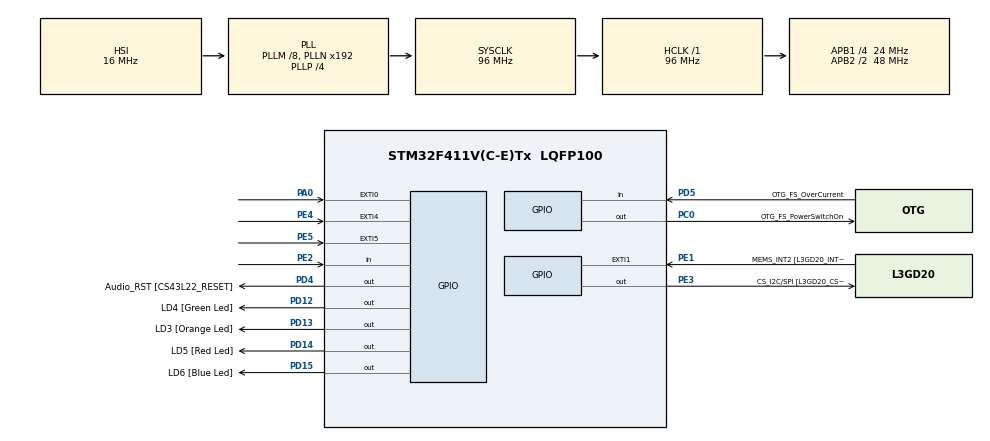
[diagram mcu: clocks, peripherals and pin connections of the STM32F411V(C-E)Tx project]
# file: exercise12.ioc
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FREERTOS.Mutexes01=myMutex01,Dynamic,NULL
FREERTOS.Tasks01=RedLED,2,128,StartRedLED,Default,NULL,Dynamic,NULL,NULL;GreenLED,0,128,StartGreenLED,Default,NULL,Dynamic,NULL,NULL;OrangeLED,1,128,StartOrangeLED,Default,NULL,Dynamic,NULL,NULL
Mcu.Family=STM32F4
Mcu.Name=STM32F411V(C-E)Tx
Mcu.Package=LQFP100
NVIC.PriorityGroup=NVIC_PRIORITYGROUP_4
NVIC.TIM1_UP_TIM10_IRQn=true\:0\:0\:false\:false\:true\:false\:false\:true
NVIC.TimeBase=TIM1_UP_TIM10_IRQn
NVIC.TimeBaseIP=TIM1
PA0-WKUP.GPIO_ModeDefaultEXTI=GPIO_MODE_EVT_RISING
PA0-WKUP.Signal=GPXTI0
PA10.GPIO_Label=OTG_FS_ID
PA10.Signal=USB_OTG_FS_ID
PA11.GPIO_Label=OTG_FS_DM
PA11.Signal=USB_OTG_FS_DM
PA12.GPIO_Label=OTG_FS_DP
PA12.Signal=USB_OTG_FS_DP
PA13.GPIO_Label=SWDIO
PA13.Signal=SYS_JTMS-SWDIO
PA14.GPIO_Label=SWCLK
PA14.Signal=SYS_JTCK-SWCLK
PA4.GPIO_Label=I2S3_WS [CS43L22_LRCK]
PA4.GPIO_Mode=GPIO_MODE_AF_PP
PA4.GPIO_PuPd=GPIO_NOPULL
PA4.GPIO_Speed=GPIO_SPEED_FREQ_LOW
PA4.Signal=I2S3_WS
PA5.GPIO_Label=SPI1_SCK [L3GD20_SC/SPC]
PA5.Signal=SPI1_SCK
PA6.GPIO_Label=SPI1_MISO [L3GD20_AS0/SDO]
PA6.Signal=SPI1_MISO
PA7.GPIO_Label=SPI1_MOSI [L3GD20_SDA/SDI/SDO]
PA7.Signal=SPI1_MOSI
PA9.GPIO_Label=VBUS_FS
PA9.Signal=USB_OTG_FS_VBUS
PB10.GPIO_Label=CLK_IN [MP45DT02_CLK]
PB10.Signal=I2S2_CK
PB12.Signal=I2S2_WS
PB3.GPIO_Label=SWO
PB3.Signal=SYS_JTDO-SWO
PB6.GPIO_Label=Audio_SCL [CS43L22_SCL]
PB6.GPIO_Mode=GPIO_MODE_AF_OD
PB6.GPIO_PuPd=GPIO_NOPULL
PB6.GPIO_Speed=GPIO_SPEED_FREQ_LOW
PB6.Signal=I2C1_SCL
PB9.GPIO_Label=Audio_SDA [CS43L22_SDA]
PB9.GPIO_Mode=GPIO_MODE_AF_OD
PB9.GPIO_PuPd=GPIO_NOPULL
PB9.GPIO_Speed=GPIO_SPEED_FREQ_LOW
PB9.Signal=I2C1_SDA
PC0.GPIO_Label=OTG_FS_PowerSwitchOn
PC0.PinState=GPIO_PIN_SET
PC0.Signal=GPIO_Output
PC10.GPIO_Label=I2S3_SCK [CS43L22_SCLK]
PC10.GPIO_Mode=GPIO_MODE_AF_PP
PC10.GPIO_PuPd=GPIO_NOPULL
PC10.GPIO_Speed=GPIO_SPEED_FREQ_LOW
PC10.Signal=I2S3_CK
PC12.GPIO_Label=I2S3_SD [CS43L22_SDIN]
PC12.GPIO_Mode=GPIO_MODE_AF_PP
PC12.GPIO_PuPd=GPIO_NOPULL
PC12.GPIO_Speed=GPIO_SPEED_FREQ_LOW
PC12.Signal=I2S3_SD
PC14-OSC32_IN.GPIO_Label=PC14-OSC32_IN
PC14-OSC32_IN.Signal=RCC_OSC32_IN
PC15-OSC32_OUT.GPIO_Label=PC15-OSC32_OUT
PC15-OSC32_OUT.Signal=RCC_OSC32_OUT
PC3.GPIO_Label=PDM_OUT [MP45DT02_DOUT]
PC3.Signal=I2S2_SD
PC7.GPIO_Label=I2S3_MCK [CS43L22_MCLK]
PC7.GPIO_Mode=GPIO_MODE_AF_PP
PC7.GPIO_PuPd=GPIO_NOPULL
PC7.GPIO_Speed=GPIO_SPEED_FREQ_LOW
PC7.Signal=I2S3_MCK
PD12.GPIO_Label=LD4 [Green Led]
PD12.GPIO_PuPd=GPIO_NOPULL
PD12.GPIO_Speed=GPIO_SPEED_FREQ_LOW
PD12.Signal=GPIO_Output
PD13.GPIO_Label=LD3 [Orange Led]
PD13.GPIO_PuPd=GPIO_NOPULL
PD13.GPIO_Speed=GPIO_SPEED_FREQ_LOW
PD13.Signal=GPIO_Output
PD14.GPIO_Label=LD5 [Red Led]
PD14.GPIO_PuPd=GPIO_NOPULL
PD14.GPIO_Speed=GPIO_SPEED_FREQ_LOW
PD14.Signal=GPIO_Output
PD15.GPIO_Label=LD6 [Blue Led]
PD15.GPIO_PuPd=GPIO_NOPULL
PD15.GPIO_Speed=GPIO_SPEED_FREQ_LOW
PD15.Signal=GPIO_Output
PD4.GPIO_Label=Audio_RST [CS43L22_RESET]
PD4.Signal=GPIO_Output
PD5.GPIO_Label=OTG_FS_OverCurrent
PD5.Signal=GPIO_Input
PE1.GPIO_Label=MEMS_INT2 [L3GD20_INT2]
PE1.GPIO_ModeDefaultEXTI=GPIO_MODE_EVT_RISING
PE1.Signal=GPXTI1
PE2.Signal=GPIO_Input
PE3.GPIO_Label=CS_I2C/SPI [L3GD20_CS_I2C/SPI]
PE3.Signal=GPIO_Output
PE4.GPIO_ModeDefaultEXTI=GPIO_MODE_EVT_RISING
PE4.Signal=GPXTI4
PE5.GPIO_ModeDefaultEXTI=GPIO_MODE_EVT_RISING
PE5.Signal=GPXTI5
PH0\ -\ OSC_IN.GPIO_Label=PH0-OSC_IN
PH0\ -\ OSC_IN.Signal=RCC_OSC_IN
PH1\ -\ OSC_OUT.GPIO_Label=PH1-OSC_OUT
PH1\ -\ OSC_OUT.Signal=RCC_OSC_OUT
ProjectManager.HeapSize=0x200
ProjectManager.StackSize=0x400
ProjectManager.TargetToolchain=STM32CubeIDE
RCC.48MHZClocksFreq_Value=48000000
RCC.AHBFreq_Value=96000000
RCC.APB1CLKDivider=RCC_HCLK_DIV4
RCC.APB1Freq_Value=24000000
RCC.APB1TimFreq_Value=48000000
RCC.APB2CLKDivider=RCC_HCLK_DIV2
RCC.APB2Freq_Value=48000000
RCC.APB2TimFreq_Value=96000000
RCC.CortexFreq_Value=96000000
RCC.HCLKFreq_Value=96000000
RCC.HSE_VALUE=8000000
RCC.HSI_VALUE=16000000
RCC.LSE_VALUE=32768
RCC.PLLI2SM=5
RCC.PLLI2SN=200
RCC.PLLM=8
RCC.PLLP=RCC_PLLP_DIV4
RCC.PLLQ=8
RCC.SYSCLKFreq_VALUE=96000000
RCC.SYSCLKSource=RCC_SYSCLKSOURCE_PLLCLK
RCC.VCOOutputFreq_Value=384000000
VP_FREERTOS_VS_CMSIS_V1.Mode=CMSIS_V1
VP_SYS_VS_tim1.Mode=TIM1
board=STM32F411E-DISCO

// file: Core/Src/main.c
/* USER CODE BEGIN Header */
/**
  ******************************************************************************
  * @file           : main.c
  * @brief          : Main program body
  ******************************************************************************
  * @attention
  *
  * <h2><center>&copy; Copyright (c) 2021 STMicroelectronics.
  * All rights reserved.</center></h2>
  *
  * This software component is licensed by ST under BSD 3-Clause license,
  * the "License"; You may not use this file except in compliance with the
  * License. You may obtain a copy of the License at:
  *                        opensource.org/licenses/BSD-3-Clause
  *
  ******************************************************************************
  */
/* USER CODE END Header */

#include "main.h"
#include "cmsis_os.h"

osThreadId RedLEDHandle;
osThreadId GreenLEDHandle;
osThreadId OrangeLEDHandle;
osMutexId myMutex01Handle;

void SystemClock_Config(void);
static void MX_GPIO_Init(void);
void StartRedLED(void const * argument);
void StartGreenLED(void const * argument);
void StartOrangeLED(void const * argument);

int main(void)
{

  /* MCU Configuration--------------------------------------------------------*/

  /* Reset of all peripherals, Initializes the Flash interface and the Systick. */
  HAL_Init();

  /* Configure the system clock */
  SystemClock_Config();

  /* Initialize all configured peripherals */
  MX_GPIO_Init();

  /* Create the mutex(es) */
  /* definition and creation of myMutex01 */
  osMutexDef(myMutex01);
  myMutex01Handle = osMutexCreate(osMutex(myMutex01));

  /* Create the thread(s) */
  /* definition and creation of RedLED */
  osThreadDef(RedLED, StartRedLED, osPriorityHigh, 0, 128);
  RedLEDHandle = osThreadCreate(osThread(RedLED), NULL);

  /* definition and creation of GreenLED */
  osThreadDef(GreenLED, StartGreenLED, osPriorityNormal, 0, 128);
  GreenLEDHandle = osThreadCreate(osThread(GreenLED), NULL);

  /* definition and creation of OrangeLED */
  osThreadDef(OrangeLED, StartOrangeLED, osPriorityAboveNormal, 0, 128);
  OrangeLEDHandle = osThreadCreate(osThread(OrangeLED), NULL);

  /* Start scheduler */
  osKernelStart();

  /* We should never get here as control is now taken by the scheduler */

  /* Infinite loop */
  while (1)
  {

  }
}

void SystemClock_Config(void)
{
  RCC_OscInitTypeDef RCC_OscInitStruct = {0};
  RCC_ClkInitTypeDef RCC_ClkInitStruct = {0};

  /** Configure the main internal regulator output voltage
  */
  __HAL_RCC_PWR_CLK_ENABLE();
  __HAL_PWR_VOLTAGESCALING_CONFIG(PWR_REGULATOR_VOLTAGE_SCALE1);
  /** Initializes the CPU, AHB and APB busses clocks
  */
  RCC_OscInitStruct.OscillatorType = RCC_OSCILLATORTYPE_HSI;
  RCC_OscInitStruct.HSIState = RCC_HSI_ON;
  RCC_OscInitStruct.HSICalibrationValue = RCC_HSICALIBRATION_DEFAULT;
  RCC_OscInitStruct.PLL.PLLState = RCC_PLL_ON;
  RCC_OscInitStruct.PLL.PLLSource = RCC_PLLSOURCE_HSI;
  RCC_OscInitStruct.PLL.PLLM = 8;
  RCC_OscInitStruct.PLL.PLLN = 192;
  RCC_OscInitStruct.PLL.PLLP = RCC_PLLP_DIV4;
  RCC_OscInitStruct.PLL.PLLQ = 8;
  if (HAL_RCC_OscConfig(&RCC_OscInitStruct) != HAL_OK)
  {
    Error_Handler();
  }
  /** Initializes the CPU, AHB and APB busses clocks
  */
  RCC_ClkInitStruct.ClockType = RCC_CLOCKTYPE_HCLK|RCC_CLOCKTYPE_SYSCLK
                              |RCC_CLOCKTYPE_PCLK1|RCC_CLOCKTYPE_PCLK2;
  RCC_ClkInitStruct.SYSCLKSource = RCC_SYSCLKSOURCE_PLLCLK;
  RCC_ClkInitStruct.AHBCLKDivider = RCC_SYSCLK_DIV1;
  RCC_ClkInitStruct.APB1CLKDivider = RCC_HCLK_DIV4;
  RCC_ClkInitStruct.APB2CLKDivider = RCC_HCLK_DIV2;

  if (HAL_RCC_ClockConfig(&RCC_ClkInitStruct, FLASH_LATENCY_3) != HAL_OK)
  {
    Error_Handler();
  }
}

static void MX_GPIO_Init(void)
{
  GPIO_InitTypeDef GPIO_InitStruct = {0};

  /* GPIO Ports Clock Enable */
  __HAL_RCC_GPIOE_CLK_ENABLE();
  __HAL_RCC_GPIOC_CLK_ENABLE();
  __HAL_RCC_GPIOH_CLK_ENABLE();
  __HAL_RCC_GPIOA_CLK_ENABLE();
  __HAL_RCC_GPIOB_CLK_ENABLE();
  __HAL_RCC_GPIOD_CLK_ENABLE();

  /*Configure GPIO pin Output Level */
  HAL_GPIO_WritePin(CS_I2C_SPI_GPIO_Port, CS_I2C_SPI_Pin, GPIO_PIN_RESET);

  /*Configure GPIO pin Output Level */
  HAL_GPIO_WritePin(OTG_FS_PowerSwitchOn_GPIO_Port, OTG_FS_PowerSwitchOn_Pin, GPIO_PIN_SET);

  /*Configure GPIO pin Output Level */
  HAL_GPIO_WritePin(GPIOD, LD4_Pin|LD3_Pin|LD5_Pin|LD6_Pin
                          |Audio_RST_Pin, GPIO_PIN_RESET);

  /*Configure GPIO pin : PE2 */
  GPIO_InitStruct.Pin = GPIO_PIN_2;
  GPIO_InitStruct.Mode = GPIO_MODE_INPUT;
  GPIO_InitStruct.Pull = GPIO_NOPULL;
  HAL_GPIO_Init(GPIOE, &GPIO_InitStruct);

  /*Configure GPIO pin : CS_I2C_SPI_Pin */
  GPIO_InitStruct.Pin = CS_I2C_SPI_Pin;
  GPIO_InitStruct.Mode = GPIO_MODE_OUTPUT_PP;
  GPIO_InitStruct.Pull = GPIO_NOPULL;
  GPIO_InitStruct.Speed = GPIO_SPEED_FREQ_LOW;
  HAL_GPIO_Init(CS_I2C_SPI_GPIO_Port, &GPIO_InitStruct);

  /*Configure GPIO pins : PE4 PE5 MEMS_INT2_Pin */
  GPIO_InitStruct.Pin = GPIO_PIN_4|GPIO_PIN_5|MEMS_INT2_Pin;
  GPIO_InitStruct.Mode = GPIO_MODE_EVT_RISING;
  GPIO_InitStruct.Pull = GPIO_NOPULL;
  HAL_GPIO_Init(GPIOE, &GPIO_InitStruct);

  /*Configure GPIO pin : OTG_FS_PowerSwitchOn_Pin */
  GPIO_InitStruct.Pin = OTG_FS_PowerSwitchOn_Pin;
  GPIO_InitStruct.Mode = GPIO_MODE_OUTPUT_PP;
  GPIO_InitStruct.Pull = GPIO_NOPULL;
  GPIO_InitStruct.Speed = GPIO_SPEED_FREQ_LOW;
  HAL_GPIO_Init(OTG_FS_PowerSwitchOn_GPIO_Port, &GPIO_InitStruct);

  /*Configure GPIO pin : PDM_OUT_Pin */
  GPIO_InitStruct.Pin = PDM_OUT_Pin;
  GPIO_InitStruct.Mode = GPIO_MODE_AF_PP;
  GPIO_InitStruct.Pull = GPIO_NOPULL;
  GPIO_InitStruct.Speed = GPIO_SPEED_FREQ_LOW;
  GPIO_InitStruct.Alternate = GPIO_AF5_SPI2;
  HAL_GPIO_Init(PDM_OUT_GPIO_Port, &GPIO_InitStruct);

  /*Configure GPIO pin : PA0 */
  GPIO_InitStruct.Pin = GPIO_PIN_0;
  GPIO_InitStruct.Mode = GPIO_MODE_EVT_RISING;
  GPIO_InitStruct.Pull = GPIO_NOPULL;
  HAL_GPIO_Init(GPIOA, &GPIO_InitStruct);

  /*Configure GPIO pin : I2S3_WS_Pin */
  GPIO_InitStruct.Pin = I2S3_WS_Pin;
  GPIO_InitStruct.Mode = GPIO_MODE_AF_PP;
  GPIO_InitStruct.Pull = GPIO_NOPULL;
  GPIO_InitStruct.Speed = GPIO_SPEED_FREQ_LOW;
  GPIO_InitStruct.Alternate = GPIO_AF6_SPI3;
  HAL_GPIO_Init(I2S3_WS_GPIO_Port, &GPIO_InitStruct);

  /*Configure GPIO pins : SPI1_SCK_Pin SPI1_MISO_Pin SPI1_MOSI_Pin */
  GPIO_InitStruct.Pin = SPI1_SCK_Pin|SPI1_MISO_Pin|SPI1_MOSI_Pin;
  GPIO_InitStruct.Mode = GPIO_MODE_AF_PP;
  GPIO_InitStruct.Pull = GPIO_NOPULL;
  GPIO_InitStruct.Speed = GPIO_SPEED_FREQ_VERY_HIGH;
  GPIO_InitStruct.Alternate = GPIO_AF5_SPI1;
  HAL_GPIO_Init(GPIOA, &GPIO_InitStruct);

  /*Configure GPIO pins : CLK_IN_Pin PB12 */
  GPIO_InitStruct.Pin = CLK_IN_Pin|GPIO_PIN_12;
  GPIO_InitStruct.Mode = GPIO_MODE_AF_PP;
  GPIO_InitStruct.Pull = GPIO_NOPULL;
  GPIO_InitStruct.Speed = GPIO_SPEED_FREQ_LOW;
  GPIO_InitStruct.Alternate = GPIO_AF5_SPI2;
  HAL_GPIO_Init(GPIOB, &GPIO_InitStruct);

  /*Configure GPIO pins : LD4_Pin LD3_Pin LD5_Pin LD6_Pin
                           Audio_RST_Pin */
  GPIO_InitStruct.Pin = LD4_Pin|LD3_Pin|LD5_Pin|LD6_Pin
                          |Audio_RST_Pin;
  GPIO_InitStruct.Mode = GPIO_MODE_OUTPUT_PP;
  GPIO_InitStruct.Pull = GPIO_NOPULL;
  GPIO_InitStruct.Speed = GPIO_SPEED_FREQ_LOW;
  HAL_GPIO_Init(GPIOD, &GPIO_InitStruct);

  /*Configure GPIO pins : I2S3_MCK_Pin I2S3_SCK_Pin I2S3_SD_Pin */
  GPIO_InitStruct.Pin = I2S3_MCK_Pin|I2S3_SCK_Pin|I2S3_SD_Pin;
  GPIO_InitStruct.Mode = GPIO_MODE_AF_PP;
  GPIO_InitStruct.Pull = GPIO_NOPULL;
  GPIO_InitStruct.Speed = GPIO_SPEED_FREQ_LOW;
  GPIO_InitStruct.Alternate = GPIO_AF6_SPI3;
  HAL_GPIO_Init(GPIOC, &GPIO_InitStruct);

  /*Configure GPIO pin : VBUS_FS_Pin */
  GPIO_InitStruct.Pin = VBUS_FS_Pin;
  GPIO_InitStruct.Mode = GPIO_MODE_INPUT;
  GPIO_InitStruct.Pull = GPIO_NOPULL;
  HAL_GPIO_Init(VBUS_FS_GPIO_Port, &GPIO_InitStruct);

  /*Configure GPIO pins : OTG_FS_ID_Pin OTG_FS_DM_Pin OTG_FS_DP_Pin */
  GPIO_InitStruct.Pin = OTG_FS_ID_Pin|OTG_FS_DM_Pin|OTG_FS_DP_Pin;
  GPIO_InitStruct.Mode = GPIO_MODE_AF_PP;
  GPIO_InitStruct.Pull = GPIO_NOPULL;
  GPIO_InitStruct.Speed = GPIO_SPEED_FREQ_VERY_HIGH;
  GPIO_InitStruct.Alternate = GPIO_AF10_OTG_FS;
  HAL_GPIO_Init(GPIOA, &GPIO_InitStruct);

  /*Configure GPIO pin : OTG_FS_OverCurrent_Pin */
  GPIO_InitStruct.Pin = OTG_FS_OverCurrent_Pin;
  GPIO_InitStruct.Mode = GPIO_MODE_INPUT;
  GPIO_InitStruct.Pull = GPIO_NOPULL;
  HAL_GPIO_Init(OTG_FS_OverCurrent_GPIO_Port, &GPIO_InitStruct);

  /*Configure GPIO pins : Audio_SCL_Pin Audio_SDA_Pin */
  GPIO_InitStruct.Pin = Audio_SCL_Pin|Audio_SDA_Pin;
  GPIO_InitStruct.Mode = GPIO_MODE_AF_OD;
  GPIO_InitStruct.Pull = GPIO_PULLUP;
  GPIO_InitStruct.Speed = GPIO_SPEED_FREQ_LOW;
  GPIO_InitStruct.Alternate = GPIO_AF4_I2C1;
  HAL_GPIO_Init(GPIOB, &GPIO_InitStruct);

}

/* USER CODE BEGIN 4 */
//int startFlag = 1;

void Access(){
	osMutexWait(myMutex01Handle, osWaitForever);
	for(int i = 0; i < 20; i++){
		HAL_GPIO_TogglePin(GPIOD, GPIO_PIN_15);
		for(int ii = 0; ii < 800000; ii++);
	}
	osMutexRelease(myMutex01Handle);
}
/* USER CODE END 4 */

void StarRedLED(void const * argument)
{
  /* USER CODE BEGIN 5 */
  /* Infinite loop */
	for(;;)
	{
      osDelay(1000);
	  Access();
	  for(int i = 0; i < 40; i++){
		 HAL_GPIO_TogglePin(GPIOD, GPIO_PIN_14);
		 for(int ii = 0; ii < 800000; ii++);
	  }
	  vTaskSuspend(NULL);
	}
  /* USER CODE END 5 */
}

void StartGreenLED(void const * argument)
{
  for(;;)
  {
    Access();
    for(int i = 0; i < 40; i++){
    	HAL_GPIO_TogglePin(GPIOD, GPIO_PIN_12);
    	for(int ii = 0; ii < 800000; ii++);
    }
    vTaskSuspend(NULL);
  }
}

void StartOrangeLED(void const * argument)
{
  /* USER CODE BEGIN StartOrangeLED */
  for(;;)
  {
	osDelay(1000);
	for(int i = 0; i < 40; i++){
		HAL_GPIO_TogglePin(GPIOD, GPIO_PIN_13);
		for(int ii = 0; ii < 800000; ii++);
	}
	vTaskSuspend(NULL);
  }
  /* USER CODE END StartOrangeLED */
}

void HAL_TIM_PeriodElapsedCallback(TIM_HandleTypeDef *htim)
{
  if (htim->Instance == TIM1) {
    HAL_IncTick();
  }
}

void Error_Handler(void)
{
}

/************************ (C) COPYRIGHT STMicroelectronics *****END OF FILE****/
